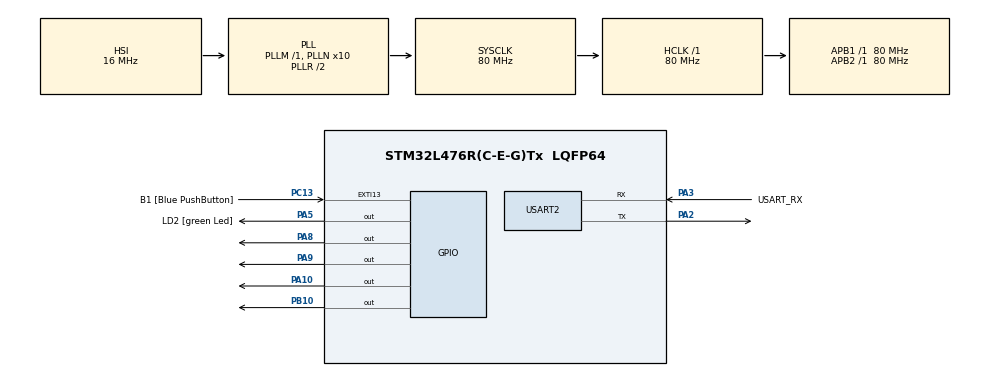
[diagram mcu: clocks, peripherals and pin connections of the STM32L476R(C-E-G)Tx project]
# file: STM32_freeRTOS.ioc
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FREERTOS.Tasks01=defaultTask,0,128,StartDefaultTask,Default,NULL
Mcu.Family=STM32L4
Mcu.Name=STM32L476R(C-E-G)Tx
Mcu.Package=LQFP64
NVIC.PriorityGroup=NVIC_PRIORITYGROUP_4
NVIC.TIM6_DAC_IRQn=true\:0\:0\:false\:false\:true\:false\:false
NVIC.TimeBase=TIM6_DAC_IRQn
NVIC.TimeBaseIP=TIM6
NVIC.USART2_IRQn=true\:5\:0\:false\:false\:true\:true\:true
PA10.Signal=GPIO_Output
PA13\ (JTMS-SWDIO).GPIO_Label=TMS
PA13\ (JTMS-SWDIO).Signal=SYS_JTMS-SWDIO
PA14\ (JTCK-SWCLK).GPIO_Label=TCK
PA14\ (JTCK-SWCLK).Signal=SYS_JTCK-SWCLK
PA2.Mode=Asynchronous
PA2.Signal=USART2_TX
PA3.GPIO_Label=USART_RX
PA3.GPIO_Mode=GPIO_MODE_AF_PP
PA3.GPIO_PuPd=GPIO_NOPULL
PA3.GPIO_Speed=GPIO_SPEED_FREQ_VERY_HIGH
PA3.Mode=Asynchronous
PA3.Signal=USART2_RX
PA5.GPIO_Label=LD2 [green Led]
PA5.GPIO_ModeDefaultOutputPP=GPIO_MODE_OUTPUT_PP
PA5.GPIO_PuPd=GPIO_NOPULL
PA5.GPIO_Speed=GPIO_SPEED_FREQ_LOW
PA5.Signal=GPIO_Output
PA8.Signal=GPIO_Output
PA9.Signal=GPIO_Output
PB10.Signal=GPIO_Output
PB3\ (JTDO-TRACESWO).GPIO_Label=SWO
PB3\ (JTDO-TRACESWO).Signal=SYS_JTDO-SWO
PC13.GPIO_Label=B1 [Blue PushButton]
PC13.GPIO_ModeDefaultEXTI=GPIO_MODE_IT_FALLING
PC13.GPIO_PuPd=GPIO_NOPULL
PC13.Signal=GPXTI13
PC14-OSC32_IN\ (PC14).Mode=LSE-External-Oscillator
PC14-OSC32_IN\ (PC14).Signal=RCC_OSC32_IN
PC15-OSC32_OUT\ (PC15).Mode=LSE-External-Oscillator
PC15-OSC32_OUT\ (PC15).Signal=RCC_OSC32_OUT
PH0-OSC_IN\ (PH0).Signal=RCC_OSC_IN
PH1-OSC_OUT\ (PH1).Signal=RCC_OSC_OUT
ProjectManager.HeapSize=0x200
ProjectManager.StackSize=0x400
ProjectManager.TargetToolchain=TrueSTUDIO
RCC.ADCFreq_Value=64000000
RCC.AHBFreq_Value=80000000
RCC.APB1Freq_Value=80000000
RCC.APB1TimFreq_Value=80000000
RCC.APB2Freq_Value=80000000
RCC.APB2TimFreq_Value=80000000
RCC.CortexFreq_Value=80000000
RCC.HCLKFreq_Value=80000000
RCC.HSE_VALUE=8000000
RCC.HSI_VALUE=16000000
RCC.MSI_VALUE=4000000
RCC.PLLN=10
RCC.PLLSourceVirtual=RCC_PLLSOURCE_HSI
RCC.PREFETCH_ENABLE=1
RCC.SYSCLKFreq_VALUE=80000000
RCC.SYSCLKSource=RCC_SYSCLKSOURCE_PLLCLK
RCC.USBFreq_Value=64000000
RCC.VCOOutputFreq_Value=160000000
USART2.VirtualMode-Asynchronous=VM_ASYNC
USART2.WordLength=WORDLENGTH_8B
VP_FREERTOS_VS_ENABLE.Mode=Enabled
VP_SYS_VS_tim6.Mode=TIM6
board=NUCLEO-L476RG

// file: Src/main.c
/**
  ******************************************************************************
  * @file           : main.c
  * @brief          : Main program body
  ******************************************************************************
  * This notice applies to any and all portions of this file
  * that are not between comment pairs USER CODE BEGIN and
  * USER CODE END. Other portions of this file, whether
  * inserted by the user or by software development tools
  * are owned by their respective copyright owners.
  *
  * Copyright (c) 2018 STMicroelectronics International N.V.
  * All rights reserved.
  *
  * Redistribution and use in source and binary forms, with or without
  * modification, are permitted, provided that the following conditions are met:
  *
  * 1. Redistribution of source code must retain the above copyright notice,
  *    this list of conditions and the following disclaimer.
  * 2. Redistributions in binary form must reproduce the above copyright notice,
  *    this list of conditions and the following disclaimer in the documentation
  *    and/or other materials provided with the distribution.
  * 3. Neither the name of STMicroelectronics nor the names of other
  *    contributors to this software may be used to endorse or promote products
  *    derived from this software without specific written permission.
  * 4. This software, including modifications and/or derivative works of this
  *    software, must execute solely and exclusively on microcontroller or
  *    microprocessor devices manufactured by or for STMicroelectronics.
  * 5. Redistribution and use of this software other than as permitted under
  *    this license is void and will automatically terminate your rights under
  *    this license.
  *
  * THIS SOFTWARE IS PROVIDED BY STMICROELECTRONICS AND CONTRIBUTORS "AS IS"
  * AND ANY EXPRESS, IMPLIED OR STATUTORY WARRANTIES, INCLUDING, BUT NOT
  * LIMITED TO, THE IMPLIED WARRANTIES OF MERCHANTABILITY, FITNESS FOR A
  * PARTICULAR PURPOSE AND NON-INFRINGEMENT OF THIRD PARTY INTELLECTUAL PROPERTY
  * RIGHTS ARE DISCLAIMED TO THE FULLEST EXTENT PERMITTED BY LAW. IN NO EVENT
  * SHALL STMICROELECTRONICS OR CONTRIBUTORS BE LIABLE FOR ANY DIRECT, INDIRECT,
  * INCIDENTAL, SPECIAL, EXEMPLARY, OR CONSEQUENTIAL DAMAGES (INCLUDING, BUT NOT
  * LIMITED TO, PROCUREMENT OF SUBSTITUTE GOODS OR SERVICES; LOSS OF USE, DATA,
  * OR PROFITS; OR BUSINESS INTERRUPTION) HOWEVER CAUSED AND ON ANY THEORY OF
  * LIABILITY, WHETHER IN CONTRACT, STRICT LIABILITY, OR TORT (INCLUDING
  * NEGLIGENCE OR OTHERWISE) ARISING IN ANY WAY OUT OF THE USE OF THIS SOFTWARE,
  * EVEN IF ADVISED OF THE POSSIBILITY OF SUCH DAMAGE.
  *
  ******************************************************************************
  */
#include "main.h"
#include "stm32l4xx_hal.h"
#include "cmsis_os.h"

UART_HandleTypeDef huart2;

osThreadId defaultTaskHandle;

/* USER CODE BEGIN PV */
/* Private variables ---------------------------------------------------------*/

/* USER CODE END PV */

void SystemClock_Config(void);
static void MX_GPIO_Init(void);
static void MX_USART2_UART_Init(void);
void StartDefaultTask(void const * argument);

/* USER CODE BEGIN PFP */
/* Private function prototypes -----------------------------------------------*/

/* USER CODE END PFP */

/* USER CODE BEGIN 0 */

QueueHandle_t xQueue;

void vLedToggle(void *pvParameters)
{
	TickType_t xDelay = 1000 / portTICK_PERIOD_MS;

	while(1)
	{
		HAL_GPIO_TogglePin(GPIOA, GPIO_PIN_5);
		vTaskDelay(xDelay);

	}
}

void vUartTransmit(void *pvParameters)
{

	TickType_t xDelay = 100 / portTICK_PERIOD_MS;

	uint8_t txBuffer[7];

	uint8_t *ptr_txBuffer;

	ptr_txBuffer = txBuffer;

	uint8_t debugMsg[] = "Waiting for message.\n";

	//vTaskPrioritySet(NULL, 1);

	while(1)
	{
		HAL_UART_Transmit(&huart2, debugMsg, sizeof(debugMsg), HAL_MAX_DELAY);

		xQueueReceive(xQueue, &ptr_txBuffer, xDelay);

		HAL_UART_Transmit(&huart2, ptr_txBuffer, 7, HAL_MAX_DELAY);

	}
}

void vUartReceive(void *pvParameters)
{

	uint8_t available_space = 0;

	TickType_t xDelay = 100 / portTICK_PERIOD_MS;

	uint8_t rxBuffer[7]; // array is needed for HAL_UART_Receive()
	uint8_t *ptr_rxBuffer; // pointer to the array for xQueueSend

	ptr_rxBuffer = rxBuffer;

	uint8_t debugMsg[] = "  empty spaces.\n";

	while(1)
	{

		HAL_UART_Receive(&huart2, rxBuffer, 7, HAL_MAX_DELAY);
		xQueueSend(xQueue, &ptr_rxBuffer, 0);
		available_space = uxQueueSpacesAvailable(xQueue) + 48;
		debugMsg[0] = available_space;
		HAL_UART_Transmit(&huart2, debugMsg, sizeof(debugMsg), HAL_MAX_DELAY);
		vTaskDelay(xDelay);

	}
}

/* USER CODE END 0 */

int main(void)
{

  /* MCU Configuration----------------------------------------------------------*/

  /* Reset of all peripherals, Initializes the Flash interface and the Systick. */
  HAL_Init();

  /* Configure the system clock */
  SystemClock_Config();

  /* Initialize all configured peripherals */
  MX_GPIO_Init();
  MX_USART2_UART_Init();

  /* USER CODE BEGIN 2 */

  xQueue = xQueueCreate(4, sizeof(int32_t));

//if (xQueue != NULL)
//{

  xTaskCreate(vLedToggle,
		  	 (const char* const)"LED Toggle",
			 configMINIMAL_STACK_SIZE,
			 0,
			 1,
			 NULL);

  xTaskCreate(vUartTransmit,
  		  	 (const char* const)"UART Transmit",
  			 configMINIMAL_STACK_SIZE,
  			 0,
  			 1,
			 NULL);

  xTaskCreate(vUartReceive,
  		  	 (const char* const)"UART Receive",
  			 configMINIMAL_STACK_SIZE,
  			 0,
  			 1,
			 NULL);

  /* Start FreeRTOS task scheduler. */
 vTaskStartScheduler();
//}
//else
//{
//
//}

  /* USER CODE END 2 */

  /* Create the thread(s) */
  /* definition and creation of defaultTask */
  osThreadDef(defaultTask, StartDefaultTask, osPriorityNormal, 0, 128);
  defaultTaskHandle = osThreadCreate(osThread(defaultTask), NULL);

  /* Start scheduler */
  osKernelStart();

  /* We should never get here as control is now taken by the scheduler */

  /* Infinite loop */
  while (1)
  {

  }

}

void SystemClock_Config(void)
{

  RCC_OscInitTypeDef RCC_OscInitStruct;
  RCC_ClkInitTypeDef RCC_ClkInitStruct;
  RCC_PeriphCLKInitTypeDef PeriphClkInit;

    /**Initializes the CPU, AHB and APB busses clocks
    */
  RCC_OscInitStruct.OscillatorType = RCC_OSCILLATORTYPE_HSI;
  RCC_OscInitStruct.HSIState = RCC_HSI_ON;
  RCC_OscInitStruct.HSICalibrationValue = 16;
  RCC_OscInitStruct.PLL.PLLState = RCC_PLL_ON;
  RCC_OscInitStruct.PLL.PLLSource = RCC_PLLSOURCE_HSI;
  RCC_OscInitStruct.PLL.PLLM = 1;
  RCC_OscInitStruct.PLL.PLLN = 10;
  RCC_OscInitStruct.PLL.PLLP = RCC_PLLP_DIV7;
  RCC_OscInitStruct.PLL.PLLQ = RCC_PLLQ_DIV2;
  RCC_OscInitStruct.PLL.PLLR = RCC_PLLR_DIV2;
  if (HAL_RCC_OscConfig(&RCC_OscInitStruct) != HAL_OK)
  {
    _Error_Handler(__FILE__, __LINE__);
  }

    /**Initializes the CPU, AHB and APB busses clocks
    */
  RCC_ClkInitStruct.ClockType = RCC_CLOCKTYPE_HCLK|RCC_CLOCKTYPE_SYSCLK
                              |RCC_CLOCKTYPE_PCLK1|RCC_CLOCKTYPE_PCLK2;
  RCC_ClkInitStruct.SYSCLKSource = RCC_SYSCLKSOURCE_PLLCLK;
  RCC_ClkInitStruct.AHBCLKDivider = RCC_SYSCLK_DIV1;
  RCC_ClkInitStruct.APB1CLKDivider = RCC_HCLK_DIV1;
  RCC_ClkInitStruct.APB2CLKDivider = RCC_HCLK_DIV1;

  if (HAL_RCC_ClockConfig(&RCC_ClkInitStruct, FLASH_LATENCY_4) != HAL_OK)
  {
    _Error_Handler(__FILE__, __LINE__);
  }

  PeriphClkInit.PeriphClockSelection = RCC_PERIPHCLK_USART2;
  PeriphClkInit.Usart2ClockSelection = RCC_USART2CLKSOURCE_PCLK1;
  if (HAL_RCCEx_PeriphCLKConfig(&PeriphClkInit) != HAL_OK)
  {
    _Error_Handler(__FILE__, __LINE__);
  }

    /**Configure the main internal regulator output voltage
    */
  if (HAL_PWREx_ControlVoltageScaling(PWR_REGULATOR_VOLTAGE_SCALE1) != HAL_OK)
  {
    _Error_Handler(__FILE__, __LINE__);
  }

    /**Configure the Systick interrupt time
    */
  HAL_SYSTICK_Config(HAL_RCC_GetHCLKFreq()/1000);

    /**Configure the Systick
    */
  HAL_SYSTICK_CLKSourceConfig(SYSTICK_CLKSOURCE_HCLK);

  /* SysTick_IRQn interrupt configuration */
  HAL_NVIC_SetPriority(SysTick_IRQn, 15, 0);
}

/* USART2 init function */
static void MX_USART2_UART_Init(void)
{

  huart2.Instance = USART2;
  huart2.Init.BaudRate = 115200;
  huart2.Init.WordLength = UART_WORDLENGTH_8B;
  huart2.Init.StopBits = UART_STOPBITS_1;
  huart2.Init.Parity = UART_PARITY_NONE;
  huart2.Init.Mode = UART_MODE_TX_RX;
  huart2.Init.HwFlowCtl = UART_HWCONTROL_NONE;
  huart2.Init.OverSampling = UART_OVERSAMPLING_16;
  huart2.Init.OneBitSampling = UART_ONE_BIT_SAMPLE_DISABLE;
  huart2.AdvancedInit.AdvFeatureInit = UART_ADVFEATURE_NO_INIT;
  if (HAL_UART_Init(&huart2) != HAL_OK)
  {
    _Error_Handler(__FILE__, __LINE__);
  }

}

/** Configure pins as
        * Analog
        * Input
        * Output
        * EVENT_OUT
        * EXTI
        * Free pins are configured automatically as Analog (this feature is enabled through
        * the Code Generation settings)
*/
static void MX_GPIO_Init(void)
{

  GPIO_InitTypeDef GPIO_InitStruct;

  /* GPIO Ports Clock Enable */
  __HAL_RCC_GPIOC_CLK_ENABLE();
  __HAL_RCC_GPIOH_CLK_ENABLE();
  __HAL_RCC_GPIOA_CLK_ENABLE();
  __HAL_RCC_GPIOB_CLK_ENABLE();
  __HAL_RCC_GPIOD_CLK_ENABLE();

  /*Configure GPIO pin Output Level */
  HAL_GPIO_WritePin(GPIOA, LD2_Pin|GPIO_PIN_8|GPIO_PIN_9|GPIO_PIN_10, GPIO_PIN_RESET);

  /*Configure GPIO pin Output Level */
  HAL_GPIO_WritePin(GPIOB, GPIO_PIN_10, GPIO_PIN_RESET);

  /*Configure GPIO pin : B1_Pin */
  GPIO_InitStruct.Pin = B1_Pin;
  GPIO_InitStruct.Mode = GPIO_MODE_IT_FALLING;
  GPIO_InitStruct.Pull = GPIO_NOPULL;
  HAL_GPIO_Init(B1_GPIO_Port, &GPIO_InitStruct);

  /*Configure GPIO pins : PC0 PC1 PC2 PC3
                           PC4 PC5 PC6 PC7
                           PC8 PC9 PC10 PC11
                           PC12 */
  GPIO_InitStruct.Pin = GPIO_PIN_0|GPIO_PIN_1|GPIO_PIN_2|GPIO_PIN_3
                          |GPIO_PIN_4|GPIO_PIN_5|GPIO_PIN_6|GPIO_PIN_7
                          |GPIO_PIN_8|GPIO_PIN_9|GPIO_PIN_10|GPIO_PIN_11
                          |GPIO_PIN_12;
  GPIO_InitStruct.Mode = GPIO_MODE_ANALOG;
  GPIO_InitStruct.Pull = GPIO_NOPULL;
  HAL_GPIO_Init(GPIOC, &GPIO_InitStruct);

  /*Configure GPIO pins : PA0 PA1 PA4 PA6
                           PA7 PA11 PA12 PA15 */
  GPIO_InitStruct.Pin = GPIO_PIN_0|GPIO_PIN_1|GPIO_PIN_4|GPIO_PIN_6
                          |GPIO_PIN_7|GPIO_PIN_11|GPIO_PIN_12|GPIO_PIN_15;
  GPIO_InitStruct.Mode = GPIO_MODE_ANALOG;
  GPIO_InitStruct.Pull = GPIO_NOPULL;
  HAL_GPIO_Init(GPIOA, &GPIO_InitStruct);

  /*Configure GPIO pins : LD2_Pin PA8 PA9 PA10 */
  GPIO_InitStruct.Pin = LD2_Pin|GPIO_PIN_8|GPIO_PIN_9|GPIO_PIN_10;
  GPIO_InitStruct.Mode = GPIO_MODE_OUTPUT_PP;
  GPIO_InitStruct.Pull = GPIO_NOPULL;
  GPIO_InitStruct.Speed = GPIO_SPEED_FREQ_LOW;
  HAL_GPIO_Init(GPIOA, &GPIO_InitStruct);

  /*Configure GPIO pins : PB0 PB1 PB2 PB11
                           PB12 PB13 PB14 PB15
                           PB4 PB5 PB6 PB7
                           PB8 PB9 */
  GPIO_InitStruct.Pin = GPIO_PIN_0|GPIO_PIN_1|GPIO_PIN_2|GPIO_PIN_11
                          |GPIO_PIN_12|GPIO_PIN_13|GPIO_PIN_14|GPIO_PIN_15
                          |GPIO_PIN_4|GPIO_PIN_5|GPIO_PIN_6|GPIO_PIN_7
                          |GPIO_PIN_8|GPIO_PIN_9;
  GPIO_InitStruct.Mode = GPIO_MODE_ANALOG;
  GPIO_InitStruct.Pull = GPIO_NOPULL;
  HAL_GPIO_Init(GPIOB, &GPIO_InitStruct);

  /*Configure GPIO pin : PB10 */
  GPIO_InitStruct.Pin = GPIO_PIN_10;
  GPIO_InitStruct.Mode = GPIO_MODE_OUTPUT_PP;
  GPIO_InitStruct.Pull = GPIO_NOPULL;
  GPIO_InitStruct.Speed = GPIO_SPEED_FREQ_LOW;
  HAL_GPIO_Init(GPIOB, &GPIO_InitStruct);

  /*Configure GPIO pin : PD2 */
  GPIO_InitStruct.Pin = GPIO_PIN_2;
  GPIO_InitStruct.Mode = GPIO_MODE_ANALOG;
  GPIO_InitStruct.Pull = GPIO_NOPULL;
  HAL_GPIO_Init(GPIOD, &GPIO_InitStruct);

}

/* StartDefaultTask function */
void StartDefaultTask(void const * argument)
{

  for(;;)
  {
    osDelay(1);
  }
}

void HAL_TIM_PeriodElapsedCallback(TIM_HandleTypeDef *htim)
{
  if (htim->Instance == TIM6) {
    HAL_IncTick();
  }
}

void _Error_Handler(char *file, int line)
{
  while(1)
  {
  }
}

/************************ (C) COPYRIGHT STMicroelectronics *****END OF FILE****/
